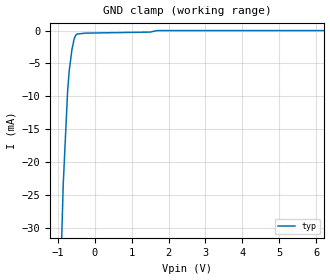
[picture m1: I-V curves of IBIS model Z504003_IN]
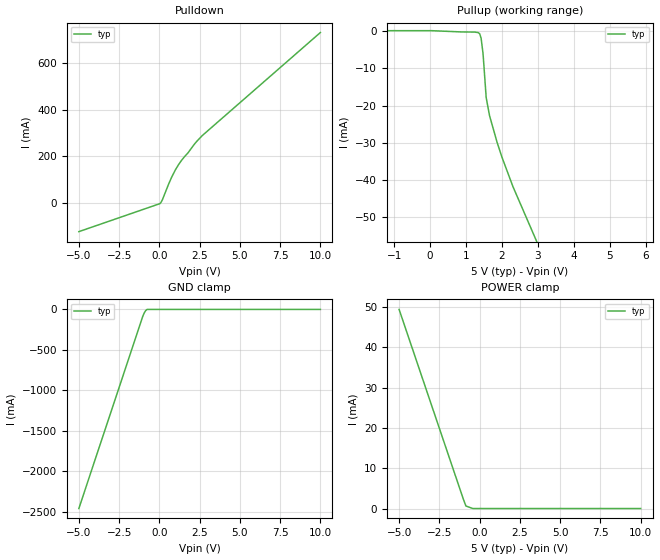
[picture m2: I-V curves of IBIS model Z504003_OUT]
| YOU ARE ONLY AUTHORIZED TO USE THIS SOFTWARE
| ACCORDING TO LICENSOR'S LICENSE RESTRICTIONS.
[IBIS Ver] 3.1
[File Name] mc74f259d.ibs
[File Rev] 2.0
[Source] Measured and created by ICX Technology
[Date] Friday 7/14/00 9:08:04 AM
[Copyright]
| (C) COPYRIGHT 1993-2000
| MENTOR GRAPHICS CORPORATION
| ICX STANDARD LIBRARY, ICX PROJECT MODELING,
| ICX CUSTOM MODELING, ICX VENDOR MODEL
| ALL RIGHTS RESERVED.
| THE FOLLOWING ARE TRADEMARKS OR SERVICE MARKS OF
| MENTOR GRAPHICS CORPORATION:ICX (R), ICX STANDARD
| LIBRARY(R), ICX PROJECT MODELING(R), ICX CUSTOM
| MODELING(R), qualityIBIS(TM), MODELVIEWER(TM),
| AND MODELEDITOR(TM)
| ALL COPIES OF SOFTWARE, INCLUDING BUT NOT LIMITED TO
| ANY MODIFICATIONS, ENHANCEMENTS OR DERIVATIVE WORKS,
| MUST CONTAIN ALL MENTOR GRAPHICS CORPORATION'S
| NOTICES AND LEGENDS, INCLUDING THOSE EMBEDDED IN
| SOFTWARE AND THOSE AFFIXED TO SOFTWARE MEDIUM
| AND CONTAINER, AS RECEIVED FROM MENTOR GRAPHICS
| CORPORATION.
|  ZAP Model Builder 2.7
[Component] MC74F259D
[Manufacturer] OnSemiconductor
[Package]
| variable   typ   min   max
R_pkg  .212ohms NA NA
L_pkg  4.758nH NA NA
C_pkg  1.143pF NA NA
[Pin] signal_name  model_name  R_pin  L_pin C_pin
1 S0 Z504003_IN .224 7.258n 1.578p
2 S1 Z504003_IN .216 5.258n 1.288p
3 S2 Z504003_IN .208 3.758n .998p
4 Q0 Z504003_OUT .2 2.758n .708p
5 Q1 Z504003_OUT .2 2.758n .708p
6 Q2 Z504003_OUT .208 3.758n .998p
7 Q3 Z504003_OUT .216 5.258n 1.288p
8 GND GND .224 7.258n 1.578p
9 Q4 Z504003_OUT .224 7.258n 1.578p
10 Q5 Z504003_OUT .216 5.258n 1.288p
11 Q6 Z504003_OUT .208 3.758n .998p
12 Q7 Z504003_OUT .2 2.758n .708p
13 D Z504003_IN .2 2.758n .708p
14 _G Z504003_IN .208 3.758n .998p
15 _CLR Z504003_IN .216 5.258n 1.288p
16 VCC POWER .224 7.258n 1.578p
| Models and submodels in the file (2): Z504003_IN (Input), Z504003_OUT (Output)
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| (C) COPYRIGHT 1993-2000
| MENTOR GRAPHICS CORPORATION
| ICX STANDARD LIBRARY, ICX PROJECT MODELING,
| ICX CUSTOM MODELING, ICX VENDOR MODEL
| ALL RIGHTS RESERVED.
| THE FOLLOWING ARE TRADEMARKS OR SERVICE MARKS OF
| MENTOR GRAPHICS CORPORATION:ICX (R), ICX STANDARD
| LIBRARY(R), ICX PROJECT MODELING(R), ICX CUSTOM
| MODELING(R), qualityIBIS(TM), MODELVIEWER(TM),
| AND MODELEDITOR(TM)
| ALL COPIES OF SOFTWARE, INCLUDING BUT NOT LIMITED TO
| ANY MODIFICATIONS, ENHANCEMENTS OR DERIVATIVE WORKS,
| MUST CONTAIN ALL MENTOR GRAPHICS CORPORATION'S
| NOTICES AND LEGENDS, INCLUDING THOSE EMBEDDED IN
| SOFTWARE AND THOSE AFFIXED TO SOFTWARE MEDIUM
| AND CONTAINER, AS RECEIVED FROM MENTOR GRAPHICS
| CORPORATION.
| Model Application Version 1.89 2/18/99.
[Model] Z504003_IN
Model_type Input
Vinl = 800.0mV
Vinh = 2.000V
C_comp 4.000pF NA NA
| variable typ   min   max
[Voltage Range] 5.000V NA NA
[GND Clamp Reference] 0.000V NA NA
[POWER Clamp Reference] 5.000V NA NA
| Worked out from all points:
|   GND clamp passes 1 mA (typ) near -0.53 V on its own axis
[GND Clamp]
-5V       -842.3mA   NA         NA
-849.6mV  -23.35mA   NA         NA
-732.4mV  -9.34mA    NA         NA
-687.7mV  -6.113mA   NA         NA
-615.5mV  -2.925mA   NA         NA
-556.6mV  -1.328mA   NA         NA
-522.4mV  -821.9uA   NA         NA
-479.7mV  -536uA     NA         NA
-239.8mV  -388.9uA   NA         NA
1.506V    -230.5uA   NA         NA
1.685V    -2.017uA   NA         NA
10V       -2.017uA   NA         NA
[POWER Clamp]
-5V       0A         NA         NA
10V       0A         NA         NA
| (C) COPYRIGHT 1993-2000
| MENTOR GRAPHICS CORPORATION
| ICX STANDARD LIBRARY, ICX PROJECT MODELING,
| ICX CUSTOM MODELING, ICX VENDOR MODEL
| ALL RIGHTS RESERVED.
| THE FOLLOWING ARE TRADEMARKS OR SERVICE MARKS OF
| MENTOR GRAPHICS CORPORATION:ICX (R), ICX STANDARD
| LIBRARY(R), ICX PROJECT MODELING(R), ICX CUSTOM
| MODELING(R), qualityIBIS(TM), MODELVIEWER(TM),
| AND MODELEDITOR(TM)
| ALL COPIES OF SOFTWARE, INCLUDING BUT NOT LIMITED TO
| ANY MODIFICATIONS, ENHANCEMENTS OR DERIVATIVE WORKS,
| MUST CONTAIN ALL MENTOR GRAPHICS CORPORATION'S
| NOTICES AND LEGENDS, INCLUDING THOSE EMBEDDED IN
| SOFTWARE AND THOSE AFFIXED TO SOFTWARE MEDIUM
| AND CONTAINER, AS RECEIVED FROM MENTOR GRAPHICS
| CORPORATION.
| Model Application Version 1.89 2/18/99.
[Model] Z504003_OUT
Model_type Output
Vref=0.000V
Rref=500.0ohms
Cref=50.00pF
Vmeas=1.500V
C_comp 8.000pF NA NA
| variable typ   min   max
[Voltage Range] 5.000V NA NA
[POWER Clamp Reference] 5.000V NA NA
[Pullup Reference] 5.000V NA NA
[Pulldown Reference] 0.000V NA NA
[GND Clamp Reference] 0.000V NA NA
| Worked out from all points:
|   slope of the pulldown table from 0 to 0.75 V, typ, clamps not added: 6.71 ohm
|   slope of the pullup table from 0 to 0.75 V, typ, clamps not added: 2.59 kohm
|   GND clamp passes 1 mA (typ) near -0.77 V on its own axis
|   POWER clamp passes 1 mA (typ) near -0.89 V on its own axis
[GND Clamp]
-5V       -2.46A     NA         NA
-1.04V    -91.17mA   NA         NA
-935.2mV  -41.62mA   NA         NA
-846.1mV  -13.48mA   NA         NA
-761.5mV  0A         NA         NA
10V       0A         NA         NA
[Pulldown]
-5V       -121.7mA   NA         NA
31.17mV   -1.937mA   NA         NA
194.6mV   15.7mA     NA         NA
561.9mV   79.45mA    NA         NA
991.2mV   142.1mA    NA         NA
1.367V    182.3mA    NA         NA
2.314V    263.9mA    NA         NA
2.666V    289.4mA    NA         NA
10V       730.2mA    NA         NA
[Pullup]
-5V       167.5uA    NA         NA
44mV      167.5uA    NA         NA
1.343V    -367.5uA   NA         NA
1.382V    -679.2uA   NA         NA
1.421V    -1.893mA   NA         NA
1.475V    -6.058mA   NA         NA
1.562V    -17.83mA   NA         NA
1.655V    -22.66mA   NA         NA
1.865V    -29.84mA   NA         NA
2.002V    -33.88mA   NA         NA
2.31V     -41.83mA   NA         NA
10V       -213.3mA   NA         NA
[POWER Clamp]
-5V       49.39mA    NA         NA
-1.009V   2.31mA     NA         NA
-850mV    627.3uA    NA         NA
-425mV    0A         NA         NA
10V       0A         NA         NA
[Ramp]
| variable typ min max
dV/dt_r 2.075/1.818n NA NA
dV/dt_f 2.075/576.7p NA NA
R_load = 500.0Ohms
